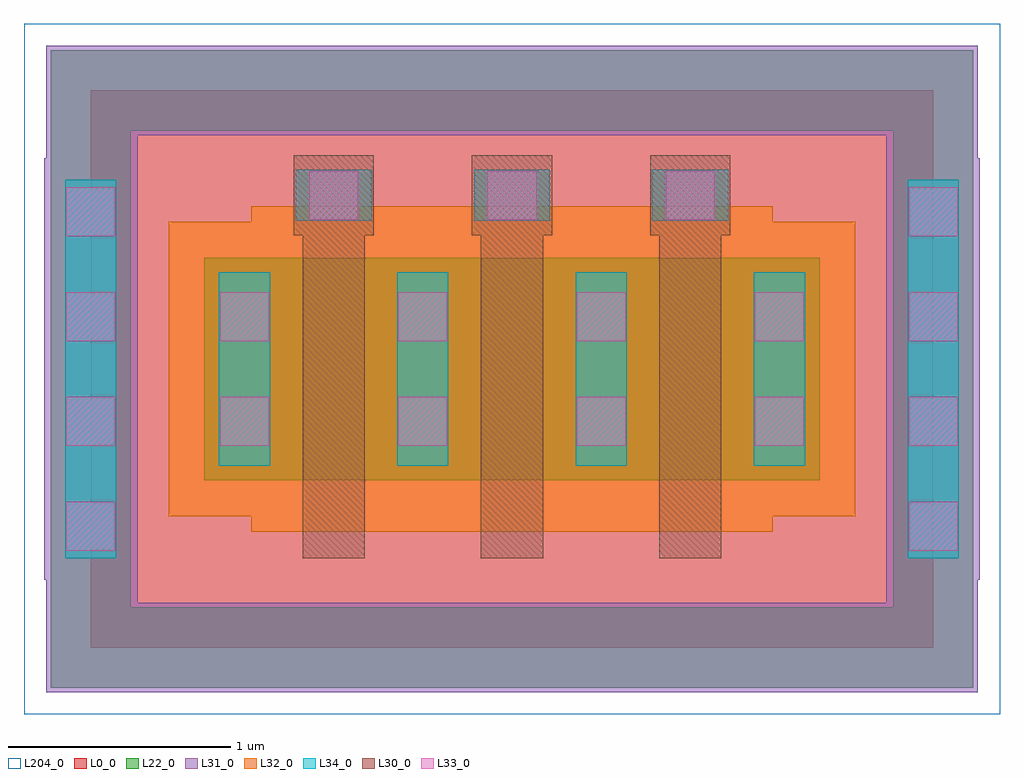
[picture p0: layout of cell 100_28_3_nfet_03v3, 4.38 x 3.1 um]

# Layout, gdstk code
import gdstk
lib = gdstk.Library(unit=1e-6, precision=1e-09)
def R(c, l, rs):  # rectangles x0, y0, x1, y1
    for r in rs: c.add(gdstk.rectangle(r[:2], r[2:], *l))
def A(c, l, x, y, w, h, nx, ny, dx, dy):  # array of equal rectangles
    R(c, l, [(x+i*dx, y+j*dy, x+i*dx+w, y+j*dy+h) for i in range(nx) for j in range(ny)])
L0_0 = (0, 0)
L22_0 = (22, 0)
L30_0 = (30, 0)
L31_0 = (31, 0)
L32_0 = (32, 0)
L33_0 = (33, 0)
L34_0 = (34, 0)
L204_0 = (204, 0)

c_100_28_3_nfet_03v3 = lib.new_cell('100_28_3_nfet_03v3')
R(c_100_28_3_nfet_03v3, L0_0, [(-1.89,-1.25,1.89,1.25)])
R(c_100_28_3_nfet_03v3, L22_0, [(-2.07,-1.43,2.07,-1.07), (-2.07,-1.07,-1.71,1.07), (1.71,-1.07,2.07,1.07), (-1.38,-0.5,1.38,0.5), (-2.07,1.07,2.07,1.43)])
A(c_100_28_3_nfet_03v3, L30_0, -0.94, -0.85, 0.28, 1.45, 3, 1, 0.8, 0)
A(c_100_28_3_nfet_03v3, L30_0, -0.98, 0.6, 0.36, 0.36, 3, 1, 0.8, 0)
R(c_100_28_3_nfet_03v3, L31_0, [(-2.09,-1.45,2.09,-1.05), (-2.09,-1.05,-1.68,-0.945), (1.68,-1.05,2.09,-0.945), (-2.1,-0.945,-1.68,0.945), (1.68,-0.945,2.1,0.945), (-2.09,0.945,-1.68,1.05), (1.68,0.945,2.09,1.05), (-2.09,1.05,2.09,1.45)])
R(c_100_28_3_nfet_03v3, L32_0, [(-1.17,-0.73,1.17,-0.66), (-1.54,-0.66,1.54,0.66), (-1.17,0.66,1.17,0.73)])
A(c_100_28_3_nfet_03v3, L33_0, -2, -0.815, 0.22, 0.22, 1, 4, 0, 0.47)
A(c_100_28_3_nfet_03v3, L33_0, 1.78, -0.815, 0.22, 0.22, 1, 4, 0, 0.47)
A(c_100_28_3_nfet_03v3, L33_0, -1.31, -0.345, 0.22, 0.22, 4, 2, 0.8, 0.47)
A(c_100_28_3_nfet_03v3, L33_0, -0.91, 0.67, 0.22, 0.22, 3, 1, 0.8, 0)
A(c_100_28_3_nfet_03v3, L34_0, -1.315, -0.435, 0.23, 0.87, 4, 1, 0.8, 0)
A(c_100_28_3_nfet_03v3, L34_0, -0.97, 0.665, 0.34, 0.23, 3, 1, 0.8, 0)
R(c_100_28_3_nfet_03v3, L34_0, [(-2.005,-0.85,-1.775,0.85), (1.775,-0.85,2.005,0.85)])
R(c_100_28_3_nfet_03v3, L204_0, [(-2.19,-1.55,2.19,1.55)])

lib.write_gds('100_28_3_nfet_03v3.gds')
